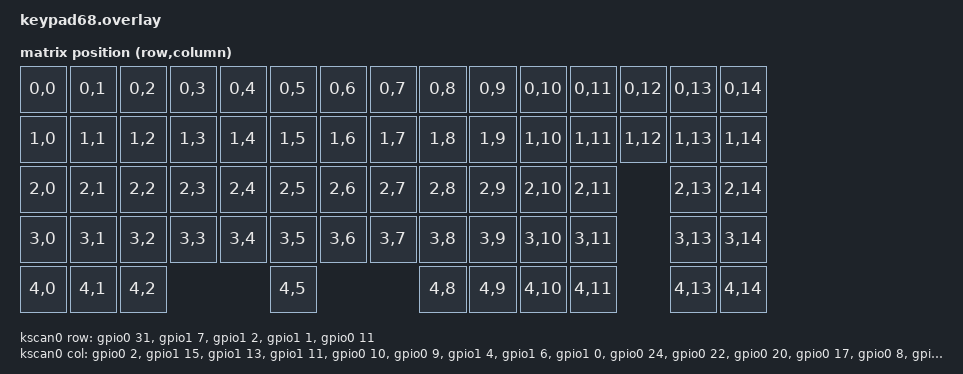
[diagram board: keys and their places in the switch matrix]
#include <dt-bindings/zmk/matrix_transform.h>
#include <dt-bindings/adc/nrf-adc.h>  // 添加 ADC 常量定义

/ {
    chosen {
        zmk,kscan = &kscan0;
        zmk,matrix-transform = &default_transform;
        zmk,battery = &vbatt;
    };


    kscan0: kscan {
        compatible = "zmk,kscan-gpio-matrix";
        label = "KSCAN";
        diode-direction = "row2col";
        
        col-gpios
			= <&gpio0 2 (GPIO_ACTIVE_HIGH | GPIO_PULL_DOWN)>
			, <&gpio1 15  (GPIO_ACTIVE_HIGH | GPIO_PULL_DOWN)>
			, <&gpio1 13  (GPIO_ACTIVE_HIGH  | GPIO_PULL_DOWN)>
			, <&gpio1 11  (GPIO_ACTIVE_HIGH | GPIO_PULL_DOWN)>
			, <&gpio0 10 (GPIO_ACTIVE_HIGH  | GPIO_PULL_DOWN)>
			, <&gpio0 9 (GPIO_ACTIVE_HIGH | GPIO_PULL_DOWN)>
			, <&gpio1 4 (GPIO_ACTIVE_HIGH | GPIO_PULL_DOWN)>
			, <&gpio1 6 (GPIO_ACTIVE_HIGH  | GPIO_PULL_DOWN)>
			, <&gpio1 0  (GPIO_ACTIVE_HIGH | GPIO_PULL_DOWN)>
			, <&gpio0 24 (GPIO_ACTIVE_HIGH  | GPIO_PULL_DOWN)>
			, <&gpio0 22 (GPIO_ACTIVE_HIGH | GPIO_PULL_DOWN)>
			, <&gpio0 20 (GPIO_ACTIVE_HIGH | GPIO_PULL_DOWN)>
			, <&gpio0 17 (GPIO_ACTIVE_HIGH  | GPIO_PULL_DOWN)>
			, <&gpio0 8  (GPIO_ACTIVE_HIGH | GPIO_PULL_DOWN)>
			, <&gpio0 6 (GPIO_ACTIVE_HIGH  | GPIO_PULL_DOWN)>
			;
		row-gpios
			= <&gpio0 31 GPIO_ACTIVE_HIGH>
			, <&gpio1 7 GPIO_ACTIVE_HIGH>
			, <&gpio1 2 GPIO_ACTIVE_HIGH>
			, <&gpio1 1 GPIO_ACTIVE_HIGH>
			, <&gpio0 11 GPIO_ACTIVE_HIGH>
			;
    };

    default_transform: keymap_transform_0 {
        compatible = "zmk,matrix-transform";
        columns = <15>;
		rows = <5>;
        map = <
        RC(0,0) RC(0,1) RC(0,2) RC(0,3) RC(0,4) RC(0,5) RC(0,6) RC(0,7) RC(0,8) RC(0,9) RC(0,10) RC(0,11) RC(0,12) RC(0,13) RC(0,14)    
        RC(1,0) RC(1,1) RC(1,2) RC(1,3) RC(1,4) RC(1,5) RC(1,6) RC(1,7) RC(1,8) RC(1,9) RC(1,10) RC(1,11) RC(1,12) RC(1,13) RC(1,14)   
        RC(2,0) RC(2,1) RC(2,2) RC(2,3) RC(2,4) RC(2,5) RC(2,6) RC(2,7) RC(2,8) RC(2,9) RC(2,10) RC(2,11)          RC(2,13) RC(2,14) 
        RC(3,0) RC(3,1) RC(3,2) RC(3,3) RC(3,4) RC(3,5) RC(3,6) RC(3,7) RC(3,8) RC(3,9) RC(3,10) RC(3,11)          RC(3,13) RC(3,14)
        RC(4,0) RC(4,1) RC(4,2)                 RC(4,5)                 RC(4,8) RC(4,9) RC(4,10) RC(4,11)          RC(4,13) RC(4,14)        
		>;
    };



 	leds {
		compatible = "zmk,led-gpio";
		caps_lock_led {
			// 你的硬件：P0.29，高电平点亮
			gpios = <&gpio0 29 GPIO_ACTIVE_HIGH>;
			label = "Caps Lock";
		};
	};




    vbatt: vbatt {
        compatible = "zmk,battery-voltage-divider";
        io-channels = <&adc 2>;
        power-gpios = <&gpio1 9 GPIO_ACTIVE_LOW>;
        output-ohms = <2000000>;    // 2M 接地（下地）
        full-ohms = <2800000>;      // 总和 2.8M
    };
};

// ⭐ 关键：添加 ADC 节点配置（之前缺失！）
&adc {
    #address-cells = <1>;
    #size-cells = <0>;
    
    channel@2 {
        reg = <2>;
        zephyr,gain = "ADC_GAIN_1_6";           // 量程 0-3.6V
        zephyr,reference = "ADC_REF_INTERNAL";  // 0.6V 内部参考
        zephyr,acquisition-time = <ADC_ACQ_TIME(ADC_ACQ_TIME_MICROSECONDS, 40)>;  // 高阻值必须！
        zephyr,input-positive = <NRF_SAADC_AIN2>;  // P0.04 = AIN2
        zephyr,resolution = <12>;
        zephyr,oversampling = <8>;  // 增加 oversampling 提高精度
    };
};
